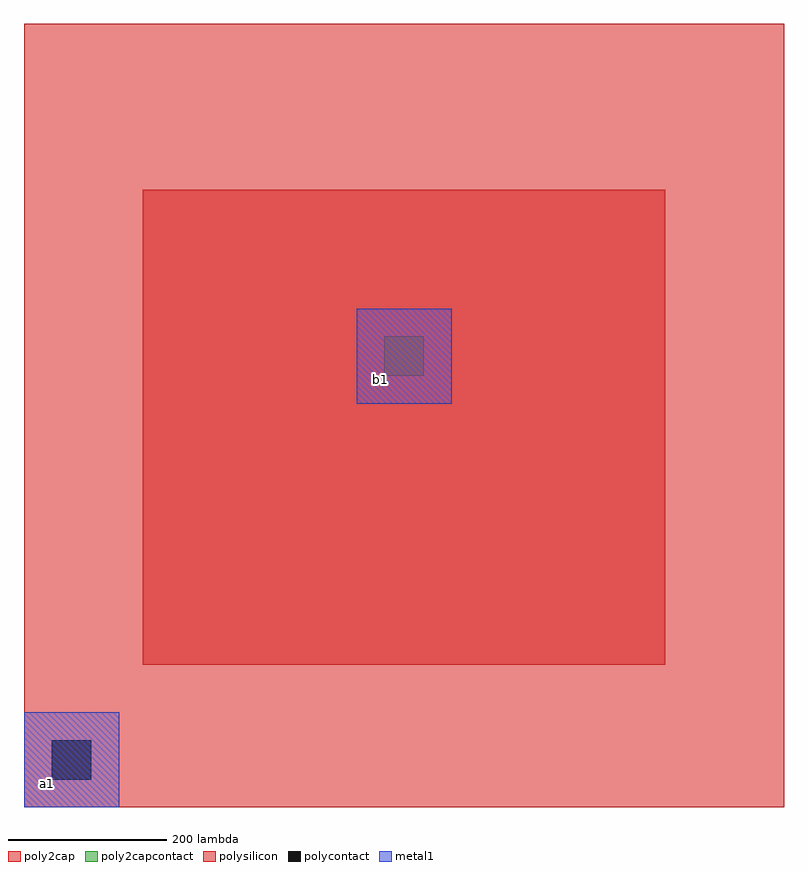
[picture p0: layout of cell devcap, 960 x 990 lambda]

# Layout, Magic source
magic
tech amic5n
<< poly2cap >>
rect 810 240 1470 840
<< poly2capcontact >>
rect 1115 605 1165 655
<< polysilicon >>
rect 660 60 1620 1050
<< polycontact >>
rect 695 95 745 145
<< metal1 >>
rect 1080 570 1200 690
rect 660 60 780 180
<< labels >>
flabel metal1 s 690 90 690 90 2 FreeSans 400 0 0 0 a1
flabel metal1 s 1110 600 1110 600 2 FreeSans 400 0 0 0 b1
<< end >>
